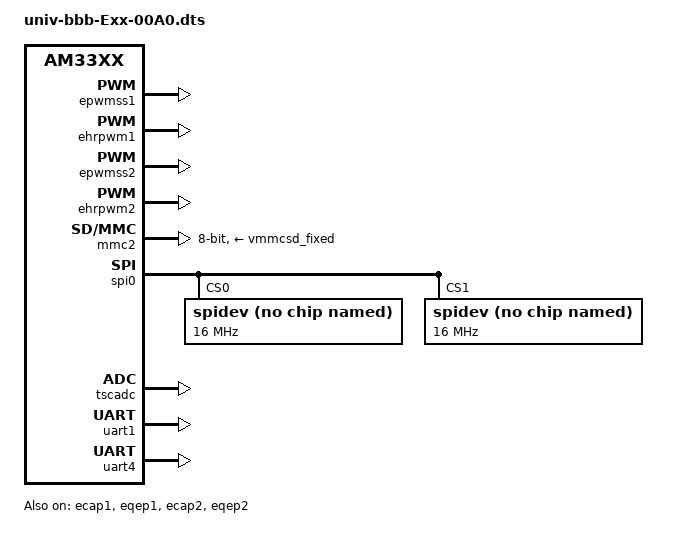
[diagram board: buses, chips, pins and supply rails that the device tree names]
/dts-v1/;
/plugin/;

#include <dt-bindings/gpio/gpio.h>
#include <dt-bindings/pinctrl/am33xx.h>

/ {
    compatible = "ti,am335x-bone-black", "ti,am335x-bone", "ti,am33xx";
};

&epwmss1 {
    status = "okay";
};

&ecap1 {
    status = "okay";
};

&ehrpwm1 {
    status = "okay";
    compatible = "ti,am33xx-ehrpwm";
    pinctrl-names = "default";
    pinctrl-0 = <&ehrpwm1_pin>;
};

&eqep1 {
    status = "okay";
};

&epwmss2 {
    status = "okay";
};

&ecap2 {
    status = "okay";
};

&ehrpwm2 {
    status = "okay";
    compatible = "ti,am33xx-ehrpwm";
    pinctrl-names = "default";
    pinctrl-0 = <&ehrpwm2_pin>;
};

&eqep2 {
    status = "okay";
};

&mmc2 {
	vmmc-supply = <&vmmcsd_fixed>;
	pinctrl-names = "default";
	pinctrl-0 = <&emmc_pins>;
	bus-width = <8>;
	status = "okay";
};

&spi0 {
    #address-cells = <1>;
    #size-cells = <0>;

    status = "okay";
    pinctrl-names = "default";
    pinctrl-0 = <&spi0_pins_s0>;

    spidev@0 {
        #address-cells = <1>;
	    #size-cells = <0>;

        compatible = "rohm,dh2228fv";
        symlink = "spi/0.0";

        spi-max-frequency = <16000000>;
        reg = <0>;
    };
    spidev@1 {
        #address-cells = <1>;
        #size-cells = <0>;

        compatible = "rohm,dh2228fv";
        symlink = "spi/0.1";

        spi-max-frequency = <16000000>;
        reg = <1>;
    };
};

&tscadc {
    status = "okay";

    adc {
        ti,adc-channels = <0 1 2 3 4 5 6 7>;
        ti,chan-step-opendelay = <152 152 152 152 152 152 152 152>;
        ti,chan-step-avg = <16 16 16 16 16 16 16 16>;
        ti,chan-step-sampledelay = <0 0 0 0 0 0 0 0>;
    };
};

&uart1 {
    status = "okay";
    pinctrl-names = "default";
    pinctrl-0 = <&uart1_pins>;
};

&uart4 {
    status = "okay";
    pinctrl-names = "default";
    pinctrl-0 = <&uart4_pins>;
};

&am33xx_pinmux {
    uart1_pins: uart1_pins {
        pinctrl-single,pins = <
            AM33XX_PADCONF(AM335X_PIN_UART1_RXD, PIN_INPUT_PULLUP, MUX_MODE0)
            AM33XX_PADCONF(AM335X_PIN_UART1_TXD, PIN_OUTPUT_PULLDOWN, MUX_MODE0)
        >;
    };

    uart4_pins: uart4_pins {
        pinctrl-single,pins = <
            AM33XX_PADCONF(AM335X_PIN_GPMC_WPN, PIN_OUTPUT_PULLDOWN, MUX_MODE6)	/* P9_13 gpmc_wpn.uart4_txd_mux2 */
            AM33XX_PADCONF(AM335X_PIN_GPMC_WAIT0, PIN_INPUT_PULLUP, MUX_MODE6)	/* P9_13 gpmc_wait0.uart4_rxd_mux2 */
        >;
    };

    ehrpwm1_pin: ehrpwm1_pin {
        pinctrl-single,pins = <
            AM33XX_PADCONF(AM335X_PIN_GPMC_A2, PIN_OUTPUT, MUX_MODE6)
        >;
    };

    ehrpwm2_pin: ehrpwm2_pin {
        pinctrl-single,pins = <
            AM33XX_PADCONF(AM335X_PIN_GPMC_A3, PIN_OUTPUT, MUX_MODE6)
        >;
    };

    emmc_pins: pinmux_emmc_pins {
        pinctrl-single,pins = <
            AM33XX_IOPAD(0x880, PIN_INPUT_PULLUP | MUX_MODE2) /* gpmc_csn1.mmc1_clk */
            AM33XX_IOPAD(0x884, PIN_INPUT_PULLUP | MUX_MODE2) /* gpmc_csn2.mmc1_cmd */
            AM33XX_IOPAD(0x800, PIN_INPUT_PULLUP | MUX_MODE1) /* gpmc_ad0.mmc1_dat0 */
            AM33XX_IOPAD(0x804, PIN_INPUT_PULLUP | MUX_MODE1) /* gpmc_ad1.mmc1_dat1 */
            AM33XX_IOPAD(0x808, PIN_INPUT_PULLUP | MUX_MODE1) /* gpmc_ad2.mmc1_dat2 */
            AM33XX_IOPAD(0x80c, PIN_INPUT_PULLUP | MUX_MODE1) /* gpmc_ad3.mmc1_dat3 */
            AM33XX_IOPAD(0x810, PIN_INPUT_PULLUP | MUX_MODE1) /* gpmc_ad4.mmc1_dat4 */
            AM33XX_IOPAD(0x814, PIN_INPUT_PULLUP | MUX_MODE1) /* gpmc_ad5.mmc1_dat5 */
            AM33XX_IOPAD(0x818, PIN_INPUT_PULLUP | MUX_MODE1) /* gpmc_ad6.mmc1_dat6 */
            AM33XX_IOPAD(0x81c, PIN_INPUT_PULLUP | MUX_MODE1) /* gpmc_ad7.mmc1_dat7 */
        >;
    };

    spi0_pins_s0: spi0_pins_s0 {
        pinctrl-single,pins = <
            AM33XX_PADCONF(AM335X_PIN_SPI0_CS0, PIN_INPUT, MUX_MODE0)
            AM33XX_PADCONF(AM335X_PIN_SPI0_D0, PIN_INPUT, MUX_MODE0)
            AM33XX_PADCONF(AM335X_PIN_SPI0_D1, PIN_INPUT, MUX_MODE0)
            AM33XX_PADCONF(AM335X_PIN_SPI0_SCLK, PIN_INPUT, MUX_MODE0)
        >;
    };
};
